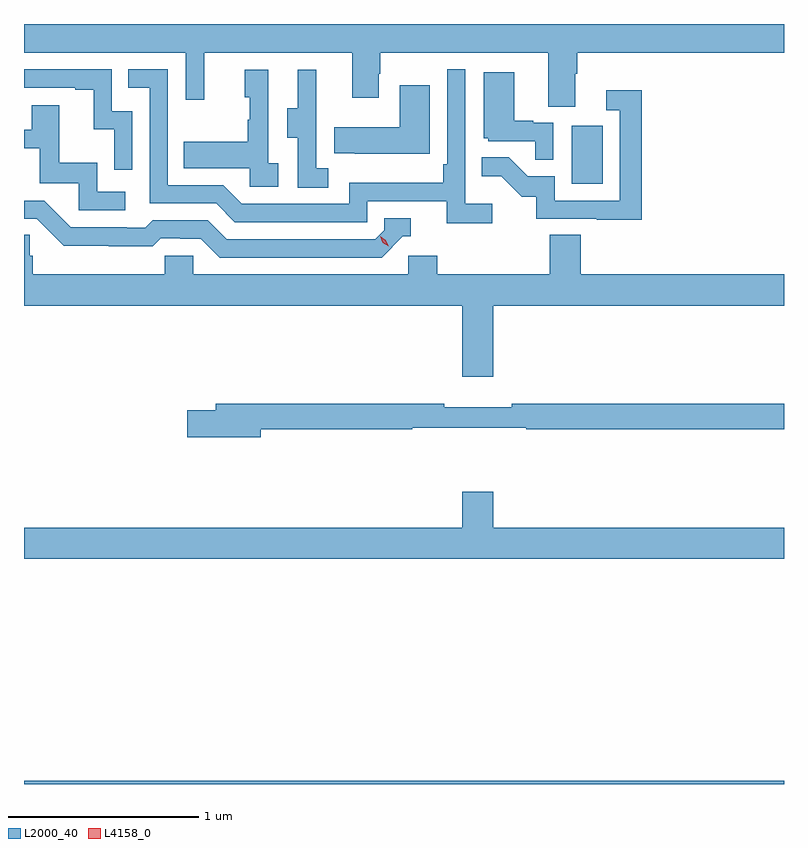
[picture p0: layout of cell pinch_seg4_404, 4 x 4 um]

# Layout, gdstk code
import gdstk
lib = gdstk.Library(unit=1e-6, precision=1e-09)
def R(c, l, rs):  # rectangles x0, y0, x1, y1
    for r in rs: c.add(gdstk.rectangle(r[:2], r[2:], *l))
def P(c, l, *ps):  # polygons
    for p in ps: c.add(gdstk.Polygon(p, *l))
L2000_40 = (2000, 40)
L4158_0 = (4158, 0)

pinch_seg4_404 = lib.new_cell('pinch_seg4_404')
R(pinch_seg4_404, L2000_40, [(1013.849,778.318,1017.849,778.336), (1016.732,781.476,1016.896,781.783)])
P(pinch_seg4_404, L2000_40, [(1013.849,782.168),(1014.699,782.168),(1014.699,781.92),(1014.797,781.92),(1014.797,782.168),(1015.577,782.168),(1015.577,781.929),(1015.717,781.929),(1015.717,782.057),(1015.725,782.057),(1015.725,782.168),(1016.609,782.168),(1016.609,781.882),(1016.749,781.882),(1016.749,782.056),(1016.762,782.056),(1016.762,782.168),(1017.849,782.168),(1017.849,782.318),(1013.849,782.318)],
  [(1016.314,781.372),(1016.172,781.372),(1016.172,782.08),(1016.076,782.08),(1016.076,781.579),(1016.056,781.579),(1016.056,781.483),(1015.56,781.483),(1015.56,781.371),(1014.996,781.371),(1014.897,781.47),(1014.606,781.47),(1014.606,782.079),(1014.397,782.079),(1014.397,781.983),(1014.51,781.983),(1014.51,781.374),(1014.86,781.374),(1014.959,781.275),(1015.656,781.275),(1015.656,781.386),(1016.075,781.386),(1016.075,781.27),(1016.314,781.27)],
  [(1014.42,781.86),(1014.312,781.86),(1014.312,782.079),(1013.849,782.079),(1013.849,781.983),(1014.119,781.983),(1014.119,781.971),(1014.215,781.971),(1014.215,781.763),(1014.324,781.763),(1014.324,781.551),(1014.42,781.551)],
  [(1015.45,781.559),(1015.386,781.559),(1015.386,781.863),(1015.388,781.863),(1015.388,782.077),(1015.289,782.077),(1015.289,781.875),(1015.235,781.875),(1015.235,781.72),(1015.29,781.72),(1015.29,781.456),(1015.45,781.456)],
  [(1015.186,781.586),(1015.134,781.586),(1015.134,782.077),(1015.01,782.077),(1015.01,781.932),(1015.036,781.932),(1015.036,781.814),(1015.026,781.814),(1015.026,781.699),(1014.691,781.699),(1014.691,781.559),(1015.038,781.559),(1015.038,781.461),(1015.186,781.461)],
  [(1016.634,781.797),(1016.528,781.797),(1016.528,781.81),(1016.428,781.81),(1016.428,782.065),(1016.27,782.065),(1016.27,781.716),(1016.292,781.716),(1016.292,781.701),(1016.539,781.701),(1016.539,781.603),(1016.634,781.603)],
  [(1015.984,781.996),(1015.826,781.996),(1015.826,781.774),(1015.483,781.774),(1015.483,781.637),(1015.591,781.637),(1015.591,781.634),(1015.984,781.634)],
  [(1017.101,781.969),(1016.913,781.969),(1016.913,781.863),(1016.985,781.863),(1016.985,781.389),(1016.643,781.389),(1016.643,781.518),(1016.499,781.518),(1016.401,781.616),(1016.257,781.616),(1016.257,781.517),(1016.361,781.517),(1016.468,781.41),(1016.545,781.41),(1016.545,781.293),(1016.863,781.293),(1016.863,781.288),(1017.101,781.288)],
  [(1014.382,781.434),(1014.234,781.434),(1014.234,781.588),(1014.035,781.588),(1014.035,781.891),(1013.891,781.891),(1013.891,781.761),(1013.849,781.761),(1013.849,781.665),(1013.933,781.665),(1013.933,781.479),(1014.138,781.479),(1014.138,781.338),(1014.382,781.338)],
  [(1015.842,781.2),(1015.885,781.2),(1015.885,781.296),(1015.746,781.296),(1015.746,781.233),(1015.698,781.185),(1014.915,781.185),(1014.816,781.284),(1014.527,781.284),(1014.488,781.245),(1014.389,781.245),(1014.389,781.248),(1014.096,781.248),(1013.955,781.389),(1013.849,781.389),(1013.849,781.293),(1013.916,781.293),(1014.058,781.151),(1014.294,781.151),(1014.294,781.149),(1014.527,781.149),(1014.569,781.191),(1014.672,781.191),(1014.672,781.188),(1014.779,781.188),(1014.878,781.089),(1015.731,781.089)],
  [(1016.32,780.836),(1017.849,780.836),(1017.849,781),(1016.78,781),(1016.78,781.208),(1016.615,781.208),(1016.615,781),(1016.024,781),(1016.024,781.098),(1015.872,781.098),(1015.872,781),(1014.741,781),(1014.741,781.098),(1014.591,781.098),(1014.591,781),(1013.894,781),(1013.894,781.098),(1013.879,781.098),(1013.879,781.208),(1013.849,781.208),(1013.849,780.836),(1016.156,780.836),(1016.156,780.462),(1016.32,780.462)],
  [(1015.096,780.184),(1015.892,780.184),(1015.892,780.192),(1016.492,780.192),(1016.492,780.184),(1017.849,780.184),(1017.849,780.32),(1016.416,780.32),(1016.416,780.301),(1016.06,780.301),(1016.06,780.32),(1014.857,780.32),(1014.857,780.284),(1014.708,780.284),(1014.708,780.142),(1015.096,780.142)],
  [(1017.849,779.668),(1016.32,779.668),(1016.32,779.857),(1016.156,779.857),(1016.156,779.668),(1013.849,779.668),(1013.849,779.504),(1017.849,779.504)])
P(pinch_seg4_404, L4158_0, [(1015.769,781.147),(1015.738,781.167),(1015.723,781.2),(1015.723,781.2),(1015.723,781.2),(1015.753,781.18),(1015.769,781.147),(1015.769,781.147)])

lib.write_gds('pinch_seg4_404.gds')
